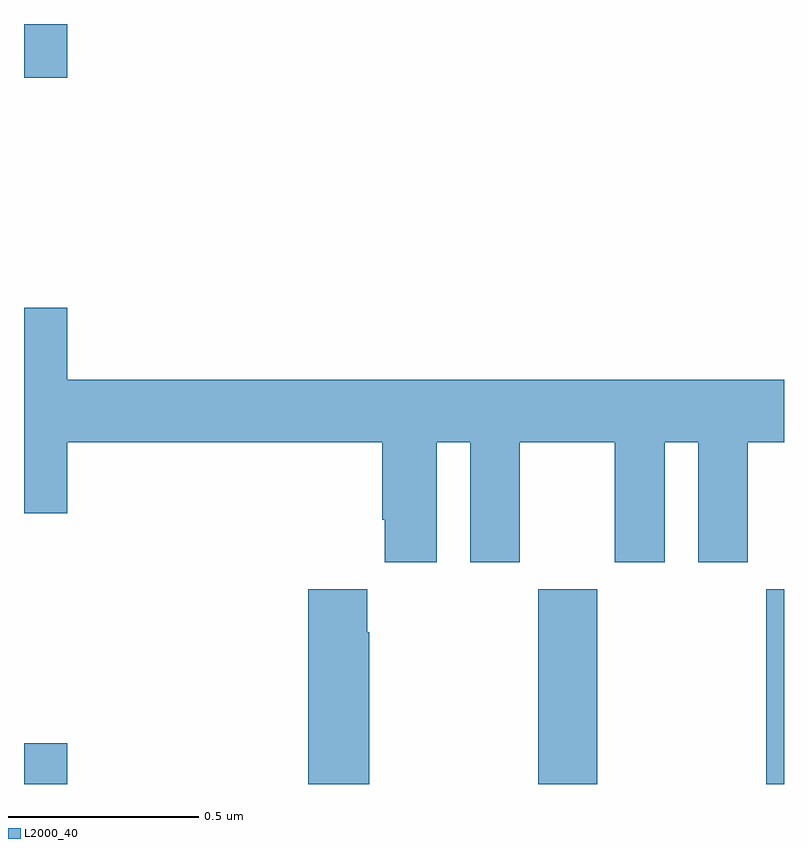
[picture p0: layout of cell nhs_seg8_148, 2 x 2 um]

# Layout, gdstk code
import gdstk
lib = gdstk.Library(unit=1e-6, precision=1e-09)
def R(c, l, rs):  # rectangles x0, y0, x1, y1
    for r in rs: c.add(gdstk.rectangle(r[:2], r[2:], *l))
def P(c, l, *ps):  # polygons
    for p in ps: c.add(gdstk.Polygon(p, *l))
L2000_40 = (2000, 40)

nhs_seg8_148 = lib.new_cell('nhs_seg8_148')
R(nhs_seg8_148, L2000_40, [(112,1148.9,112.114,1149.007), (113.353,1148.9,113.508,1149.412), (113.953,1148.9,114,1149.412), (112,1150.758,112.114,1150.9)])
P(nhs_seg8_148, L2000_40, [(113.086,1149.8),(113.174,1149.8),(113.174,1149.483),(113.305,1149.483),(113.305,1149.8),(113.555,1149.8),(113.555,1149.483),(113.686,1149.483),(113.686,1149.8),(113.774,1149.8),(113.774,1149.483),(113.905,1149.483),(113.905,1149.8),(114,1149.8),(114,1149.964),(112.114,1149.964),(112.114,1150.153),(112,1150.153),(112,1149.612),(112.114,1149.612),(112.114,1149.8),(112.943,1149.8),(112.943,1149.595),(112.949,1149.595),(112.949,1149.483),(113.086,1149.483)],
  [(112.908,1149.299),(112.903,1149.299),(112.903,1149.412),(112.748,1149.412),(112.748,1148.9),(112.908,1148.9)])

lib.write_gds('nhs_seg8_148.gds')
